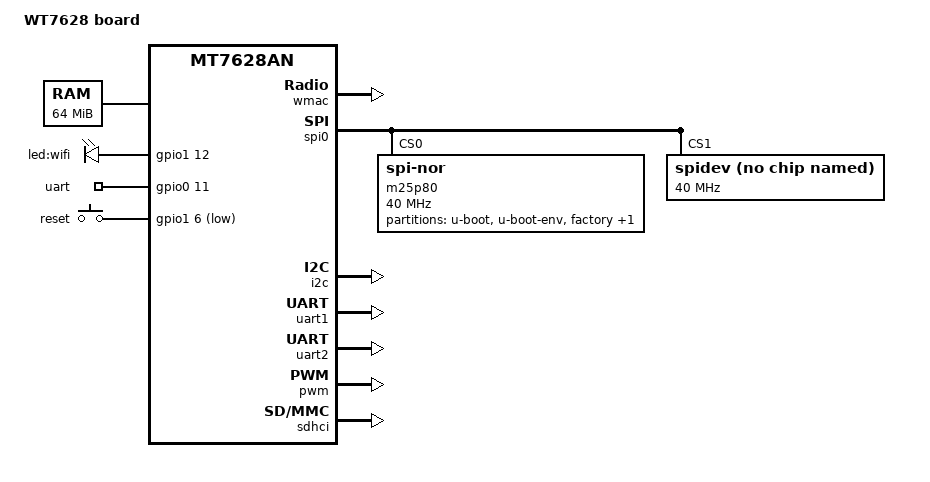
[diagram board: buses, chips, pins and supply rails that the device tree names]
/dts-v1/;

#include "mt7628an.dtsi"

#include <dt-bindings/input/input.h>

/ {
	compatible = "wireless-tag,WT7628", "mediatek,mt7628an-soc";
	model = "WT7628 board";

	memory@0 {
		device_type = "memory";
		reg = <0x0 0x4000000>;
	};

	gpio-leds {
		compatible = "gpio-leds";

		wifi {
			label = "led:wifi";
			gpios = <&gpio1 12 0>;
		};
	};

	gpio-export {
		compatible = "gpio-export";
		uart {
			gpio-export,name = "uart";
			gpio-export,output = <0>; // OUT_INIT_HIGH
			gpios = <&gpio0 11 0>;    // GPIO 40, OUT_INIT_HIGH
		};
	};

	gpio-keys-polled {
		compatible = "gpio-keys-polled";
		#address-cells = <1>;
		#size-cells = <0>;
		poll-interval = <20>;

		wps {
			label = "reset";
			gpios = <&gpio1 6 1>;
			linux,code = <KEY_WPS_BUTTON>;
		};
	};
};

&pinctrl {
	state_default: pinctrl0 {
		gpio {
			ralink,group = "wled_an", "wdt", "refclk", "perst", "i2s", "spis";
			ralink,function = "gpio";
		};
	};
};

&wmac {
	status = "okay";
};

&spi0 {
	status = "okay";

	pinctrl-names = "default";
	pinctrl-0 = <&spi_pins>, <&spi_cs1_pins>;

	m25p80@0 {
		#address-cells = <1>;
		#size-cells = <1>;
		compatible = "jedec,spi-nor";
		reg = <0>;
		spi-max-frequency = <40000000>;
		m25p,chunked-io = <31>;

		partition@0 {
			label = "u-boot";
			reg = <0x0 0x30000>;
			read-only;
		};

		partition@30000 {
			label = "u-boot-env";
			reg = <0x30000 0x10000>;
		};

		factory: partition@40000 {
			label = "factory";
			reg = <0x40000 0x10000>;
			read-only;
		};

		partition@50000 {
			label = "firmware";
			reg = <0x50000 0x1fb0000>;
		};
	};

	spidev@1 {
		#address-cells = <1>;
		#size-cells = <1>;
		compatible = "linux,spidev";
		reg = <1>;
		spi-max-frequency = <40000000>;
	};
};

&i2c {
	status = "okay";
};

&uart1 {
	status = "okay";
};

&uart2 {
	status = "okay";
};

&pwm {
	status = "okay";
};

&ethernet {
	mtd-mac-address = <&factory 0x28>;
};

&sdhci {
	status = "okay";
};

&wmac {
	status = "okay";
};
